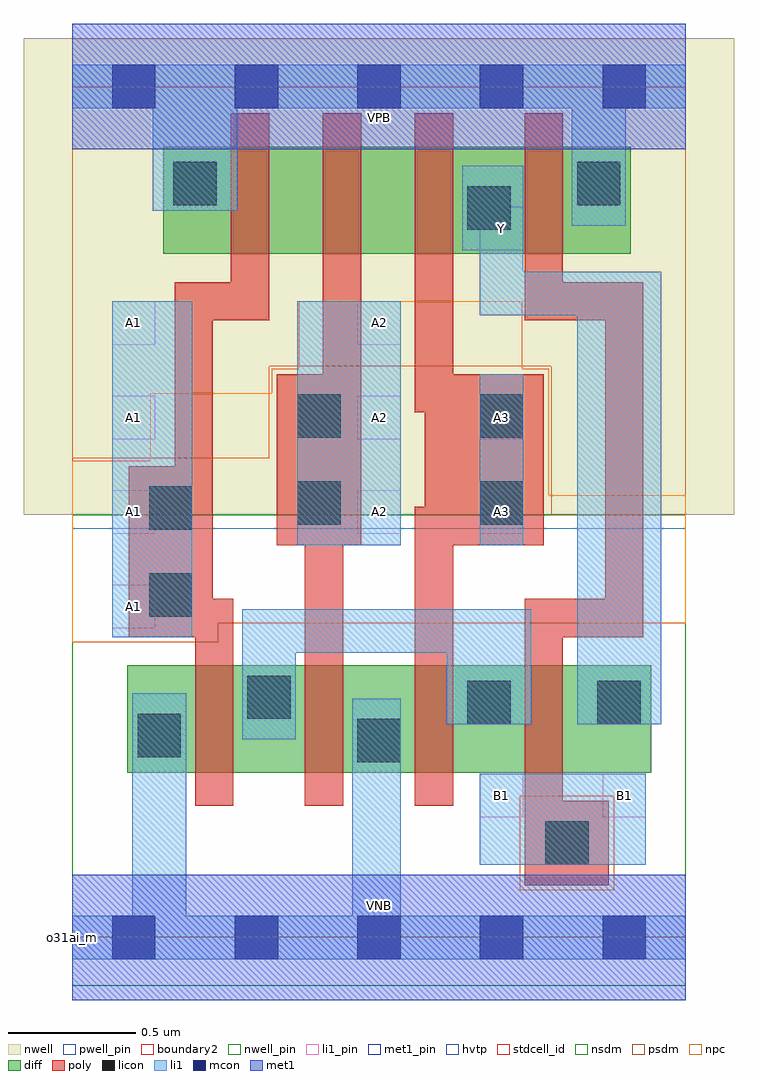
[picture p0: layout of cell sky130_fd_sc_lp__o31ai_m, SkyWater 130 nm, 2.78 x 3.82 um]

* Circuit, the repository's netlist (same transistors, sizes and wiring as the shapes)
* Copyright 2020 The SkyWater PDK Authors
*
* Licensed under the Apache License, Version 2.0 (the "License");
* you may not use this file except in compliance with the License.
* You may obtain a copy of the License at
*
*     https://www.apache.org/licenses/LICENSE-2.0
*
* Unless required by applicable law or agreed to in writing, software
* distributed under the License is distributed on an "AS IS" BASIS,
* WITHOUT WARRANTIES OR CONDITIONS OF ANY KIND, either express or implied.
* See the License for the specific language governing permissions and
* limitations under the License.
*
* SPDX-License-Identifier: Apache-2.0

.SUBCKT sky130_fd_sc_lp__o31ai_m A1 A2 A3 B1 VGND VNB VPB VPWR Y
*.PININFO A1:I A2:I A3:I B1:I VGND:I VNB:I VPB:I VPWR:I Y:O
MMPA0 VPWR A1 sndA1 VPB sky130_fd_pr__pfet_01v8_hvt m=1 w=0.42U l=0.15U mult=1
+ sa=0.265 sb=0.265 sd=0.28 area=0.063 perim=1.14
MMPA1 sndA1 A2 sndA2 VPB sky130_fd_pr__pfet_01v8_hvt m=1 w=0.42U l=0.15U mult=1
+ sa=0.265 sb=0.265 sd=0.28 area=0.063 perim=1.14
MMPA2 sndA2 A3 Y VPB sky130_fd_pr__pfet_01v8_hvt m=1 w=0.42U l=0.15U mult=1 sa=0.265
+ sb=0.265 sd=0.28 area=0.063 perim=1.14
MMPB0 VPWR B1 Y VPB sky130_fd_pr__pfet_01v8_hvt m=1 w=0.42U l=0.15U mult=1 sa=0.265
+ sb=0.265 sd=0.28 area=0.063 perim=1.14
MMNA0 pndA A1 VGND VNB sky130_fd_pr__nfet_01v8 m=1 w=0.42U l=0.15U mult=1 sa=0.265
+ sb=0.265 sd=0.28 area=0.063 perim=1.14
MMNA1 pndA A2 VGND VNB sky130_fd_pr__nfet_01v8 m=1 w=0.42U l=0.15U mult=1 sa=0.265
+ sb=0.265 sd=0.28 area=0.063 perim=1.14
MMNA2 pndA A3 VGND VNB sky130_fd_pr__nfet_01v8 m=1 w=0.42U l=0.15U mult=1 sa=0.265
+ sb=0.265 sd=0.28 area=0.063 perim=1.14
MMNB0 Y B1 pndA VNB sky130_fd_pr__nfet_01v8 m=1 w=0.42U l=0.15U mult=1 sa=0.265
+ sb=0.265 sd=0.28 area=0.063 perim=1.14
.ENDS sky130_fd_sc_lp__o31ai_m

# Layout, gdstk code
import gdstk
lib = gdstk.Library(unit=1e-6, precision=1e-09)
def R(c, l, rs):  # rectangles x0, y0, x1, y1
    for r in rs: c.add(gdstk.rectangle(r[:2], r[2:], *l))
def A(c, l, x, y, w, h, nx, ny, dx, dy):  # array of equal rectangles
    R(c, l, [(x+i*dx, y+j*dy, x+i*dx+w, y+j*dy+h) for i in range(nx) for j in range(ny)])
def P(c, l, *ps):  # polygons
    for p in ps: c.add(gdstk.Polygon(p, *l))
nwell_pin = (64, 16)
nwell = (64, 20)
diff = (65, 20)
poly = (66, 20)
licon = (66, 44)
li1_pin = (67, 16)
li1 = (67, 20)
mcon = (67, 44)
met1_pin = (68, 16)
met1 = (68, 20)
hvtp = (78, 44)
stdcell_id = (81, 4)
nsdm = (93, 44)
psdm = (94, 20)
npc = (95, 20)
pwell_pin = (122, 16)
boundary2 = (236, 0)

sky130_fd_sc_lp__o31ai_m = lib.new_cell('sky130_fd_sc_lp__o31ai_m')
R(sky130_fd_sc_lp__o31ai_m, nwell_pin, [(0,3.085,2.4,3.33)])
R(sky130_fd_sc_lp__o31ai_m, nwell, [(-0.19,1.655,2.59,3.52)])
R(sky130_fd_sc_lp__o31ai_m, diff, [(0.215,0.645,2.265,1.065), (0.355,2.675,2.185,3.095)])
P(sky130_fd_sc_lp__o31ai_m, poly, [(0.77,3.225),(0.62,3.225),(0.62,2.565),(0.4,2.565),(0.4,1.845),(0.22,1.845),(0.22,1.175),(0.48,1.175),(0.48,0.515),(0.63,0.515),(0.63,1.325),(0.55,1.325),(0.55,2.415),(0.77,2.415)],
  [(1.13,3.225),(0.98,3.225),(0.98,2.205),(0.8,2.205),(0.8,1.535),(0.91,1.535),(0.91,0.515),(1.06,0.515),(1.06,1.535),(1.13,1.535)],
  [(1.845,2.205),(1.49,2.205),(1.49,3.225),(1.34,3.225),(1.34,2.055),(1.38,2.055),(1.38,1.685),(1.34,1.685),(1.34,0.515),(1.49,0.515),(1.49,1.535),(1.845,1.535)],
  [(2.235,2.565),(1.92,2.565),(1.92,3.225),(1.77,3.225),(1.77,2.415),(2.085,2.415),(2.085,1.325),(1.77,1.325),(1.77,0.205),(2.1,0.205),(2.1,0.535),(1.92,0.535),(1.92,1.175),(2.235,1.175)])
R(sky130_fd_sc_lp__o31ai_m, licon, [(1.85,0.285,2.02,0.455), (1.115,0.685,1.285,0.855), (0.255,0.705,0.425,0.875), (1.545,0.835,1.715,1.005), (2.055,0.835,2.225,1.005), (0.685,0.855,0.855,1.025), (0.3,1.255,0.47,1.425), (0.3,1.595,0.47,1.765), (0.88,1.615,1.05,1.785), (1.595,1.615,1.765,1.785), (0.88,1.955,1.05,2.125), (1.595,1.955,1.765,2.125), (1.545,2.77,1.715,2.94), (0.395,2.865,0.565,3.035), (1.975,2.865,2.145,3.035)])
A(sky130_fd_sc_lp__o31ai_m, li1_pin, 0.155, 1.21, 0.17, 0.17, 1, 4, 0, 0.37)
A(sky130_fd_sc_lp__o31ai_m, li1_pin, 1.115, 1.58, 0.17, 0.17, 1, 3, 0, 0.37)
R(sky130_fd_sc_lp__o31ai_m, li1_pin, [(1.595,0.47,1.765,0.64), (2.075,0.47,2.245,0.64), (1.595,1.58,1.765,1.75), (1.595,1.95,1.765,2.12), (1.595,2.69,1.765,2.86)])
R(sky130_fd_sc_lp__o31ai_m, li1, [(1.595,0.285,2.245,0.64), (0.155,1.175,0.47,2.49), (0.88,1.535,1.285,2.49), (1.595,1.535,1.765,2.205)])
P(sky130_fd_sc_lp__o31ai_m, li1, [(0.315,2.845),(0.315,3.245),(0,3.245),(0,3.415),(2.4,3.415),(2.4,3.245),(2.165,3.245),(2.165,2.785),(1.955,2.785),(1.955,3.245),(0.645,3.245),(0.645,2.845)],
  [(0.235,0.085),(0.235,0.955),(0.445,0.955),(0.445,0.085),(1.095,0.085),(1.095,0.935),(1.285,0.935),(1.285,0.085),(2.4,0.085),(2.4,-0.085),(0,-0.085),(0,0.085)],
  [(1.525,2.69),(1.525,3.02),(1.765,3.02),(1.765,2.605),(2.305,2.605),(2.305,0.835),(1.975,0.835),(1.975,2.435),(1.595,2.435),(1.595,2.69)],
  [(1.465,1.115),(0.875,1.115),(0.875,0.775),(0.665,0.775),(0.665,1.285),(1.795,1.285),(1.795,0.835),(1.465,0.835)])
A(sky130_fd_sc_lp__o31ai_m, mcon, 0.155, -0.085, 0.17, 0.17, 5, 2, 0.48, 3.33)
R(sky130_fd_sc_lp__o31ai_m, met1_pin, [(0,0,2.4,0.245), (0,3.085,2.4,3.33)])
R(sky130_fd_sc_lp__o31ai_m, met1, [(0,-0.245,2.4,0.245), (0,3.085,2.4,3.575)])
R(sky130_fd_sc_lp__o31ai_m, hvtp, [(0,1.6,2.4,3.33)])
R(sky130_fd_sc_lp__o31ai_m, stdcell_id, [(0,0,2.4,3.33)])
R(sky130_fd_sc_lp__o31ai_m, nsdm, [(0,-0.19,2.4,1.655)])
P(sky130_fd_sc_lp__o31ai_m, psdm, [(2.4,3.52),(0,3.52),(0,1.875),(0.77,1.875),(0.77,2.235),(1.875,2.235),(1.875,1.655),(2.4,1.655)])
R(sky130_fd_sc_lp__o31ai_m, npc, [(1.75,0.185,2.12,0.555)])
P(sky130_fd_sc_lp__o31ai_m, npc, [(2.4,1.73),(1.865,1.73),(1.865,2.225),(1.76,2.225),(1.76,2.49),(0.885,2.49),(0.885,2.225),(0.78,2.225),(0.78,2.13),(0.305,2.13),(0.305,1.865),(0,1.865),(0,1.155),(0.57,1.155),(0.57,1.23),(2.4,1.23)])
R(sky130_fd_sc_lp__o31ai_m, pwell_pin, [(0,0,2.4,0.245)])
R(sky130_fd_sc_lp__o31ai_m, boundary2, [(0,0,2.4,3.33)])
sky130_fd_sc_lp__o31ai_m.add(gdstk.Label('VNB', (1.2,0.123), layer=64, texttype=59))
sky130_fd_sc_lp__o31ai_m.add(gdstk.Label('VPB', (1.2,3.208), layer=64, texttype=5))
sky130_fd_sc_lp__o31ai_m.add(gdstk.Label('o31ai_m', (0,0), layer=83, texttype=44))
sky130_fd_sc_lp__o31ai_m.add(gdstk.Label('VPWR', (1.2,3.208), layer=68, texttype=5))
sky130_fd_sc_lp__o31ai_m.add(gdstk.Label('VGND', (1.2,0.123), layer=68, texttype=5))
sky130_fd_sc_lp__o31ai_m.add(gdstk.Label('A2', (1.2,1.665), layer=67, texttype=5))
sky130_fd_sc_lp__o31ai_m.add(gdstk.Label('A2', (1.2,2.035), layer=67, texttype=5))
sky130_fd_sc_lp__o31ai_m.add(gdstk.Label('A2', (1.2,2.405), layer=67, texttype=5))
sky130_fd_sc_lp__o31ai_m.add(gdstk.Label('A3', (1.68,1.665), layer=67, texttype=5))
sky130_fd_sc_lp__o31ai_m.add(gdstk.Label('A3', (1.68,2.035), layer=67, texttype=5))
sky130_fd_sc_lp__o31ai_m.add(gdstk.Label('Y', (1.68,2.775), layer=67, texttype=5))
sky130_fd_sc_lp__o31ai_m.add(gdstk.Label('A1', (0.24,1.295), layer=67, texttype=5))
sky130_fd_sc_lp__o31ai_m.add(gdstk.Label('A1', (0.24,1.665), layer=67, texttype=5))
sky130_fd_sc_lp__o31ai_m.add(gdstk.Label('A1', (0.24,2.035), layer=67, texttype=5))
sky130_fd_sc_lp__o31ai_m.add(gdstk.Label('A1', (0.24,2.405), layer=67, texttype=5))
sky130_fd_sc_lp__o31ai_m.add(gdstk.Label('B1', (1.68,0.555), layer=67, texttype=5))
sky130_fd_sc_lp__o31ai_m.add(gdstk.Label('B1', (2.16,0.555), layer=67, texttype=5))

lib.write_gds('sky130_fd_sc_lp__o31ai_m.gds')
